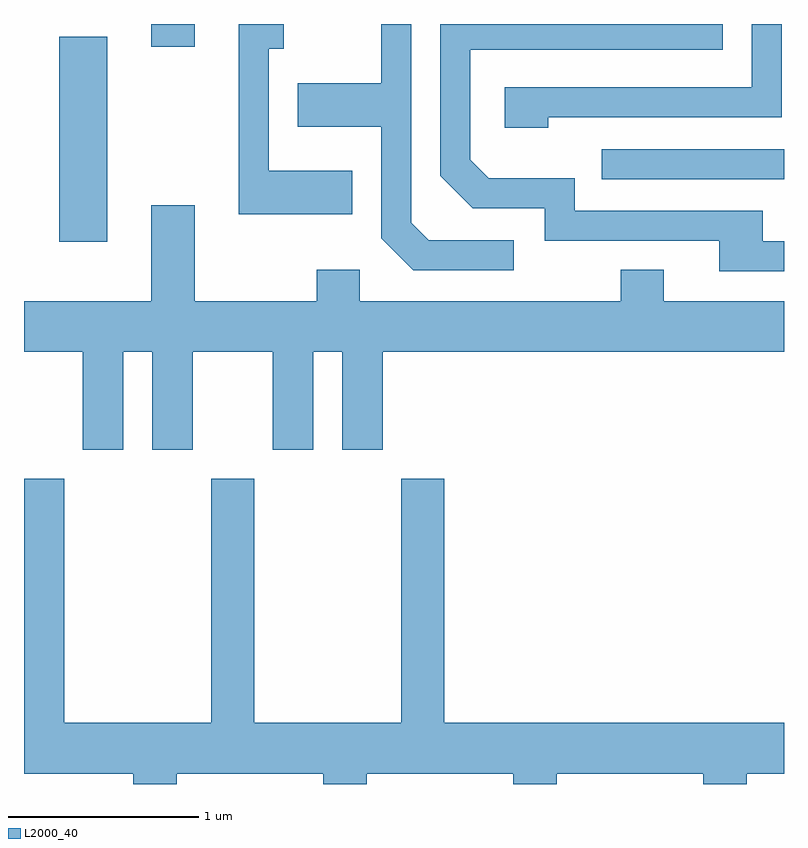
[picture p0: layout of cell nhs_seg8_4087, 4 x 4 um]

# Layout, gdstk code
import gdstk
lib = gdstk.Library(unit=1e-6, precision=1e-09)
def R(c, l, rs):  # rectangles x0, y0, x1, y1
    for r in rs: c.add(gdstk.rectangle(r[:2], r[2:], *l))
def P(c, l, *ps):  # polygons
    for p in ps: c.add(gdstk.Polygon(p, *l))
L2000_40 = (2000, 40)

nhs_seg8_4087 = lib.new_cell('nhs_seg8_4087')
R(nhs_seg8_4087, L2000_40, [(307.796,1859.196,308.049,1860.274), (310.653,1859.526,311.611,1859.684), (308.281,1860.221,308.509,1860.342)])
P(nhs_seg8_4087, L2000_40, [(310.369,1859.851),(311.599,1859.851),(311.599,1860.342),(311.441,1860.342),(311.441,1860.009),(310.141,1860.009),(310.141,1859.796),(310.369,1859.796)],
  [(311.611,1859.199),(311.499,1859.199),(311.499,1859.359),(310.509,1859.359),(310.509,1859.529),(310.057,1859.529),(309.959,1859.627),(309.959,1860.206),(311.289,1860.206),(311.289,1860.342),(309.801,1860.342),(309.801,1859.544),(309.974,1859.371),(310.351,1859.371),(310.351,1859.201),(311.271,1859.201),(311.271,1859.041),(311.611,1859.041)],
  [(310.188,1859.204),(309.742,1859.204),(309.649,1859.297),(309.649,1860.342),(309.491,1860.342),(309.491,1860.029),(309.051,1860.029),(309.051,1859.801),(309.491,1859.801),(309.491,1859.214),(309.659,1859.046),(310.188,1859.046)],
  [(309.339,1859.569),(308.899,1859.569),(308.899,1860.211),(308.978,1860.211),(308.978,1860.342),(308.741,1860.342),(308.741,1859.341),(309.339,1859.341)],
  [(308.134,1858.616),(308.286,1858.616),(308.286,1858.101),(308.499,1858.101),(308.499,1858.616),(308.921,1858.616),(308.921,1858.101),(309.134,1858.101),(309.134,1858.616),(309.286,1858.616),(309.286,1858.101),(309.499,1858.101),(309.499,1858.616),(311.611,1858.616),(311.611,1858.884),(310.979,1858.884),(310.979,1859.049),(310.751,1859.049),(310.751,1858.884),(309.379,1858.884),(309.379,1859.049),(309.151,1859.049),(309.151,1858.884),(308.509,1858.884),(308.509,1859.389),(308.281,1859.389),(308.281,1858.884),(307.611,1858.884),(307.611,1858.616),(307.921,1858.616),(307.921,1858.101),(308.134,1858.101)],
  [(309.186,1856.342),(309.414,1856.342),(309.414,1856.396),(310.186,1856.396),(310.186,1856.342),(310.414,1856.342),(310.414,1856.396),(311.186,1856.396),(311.186,1856.342),(311.414,1856.342),(311.414,1856.396),(311.611,1856.396),(311.611,1856.664),(309.824,1856.664),(309.824,1857.949),(309.596,1857.949),(309.596,1856.664),(308.824,1856.664),(308.824,1857.949),(308.596,1857.949),(308.596,1856.664),(307.824,1856.664),(307.824,1857.949),(307.611,1857.949),(307.611,1856.396),(308.186,1856.396),(308.186,1856.342),(308.414,1856.342),(308.414,1856.396),(309.186,1856.396)])

lib.write_gds('nhs_seg8_4087.gds')
